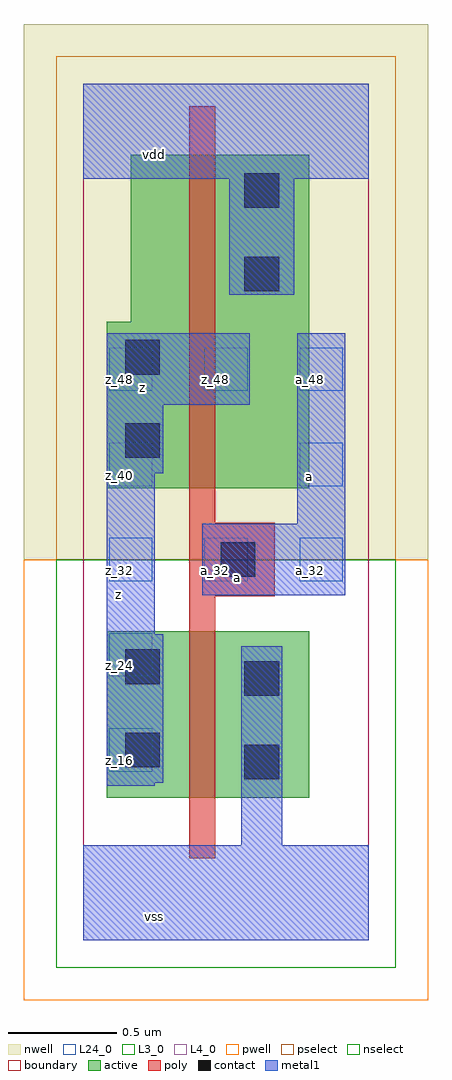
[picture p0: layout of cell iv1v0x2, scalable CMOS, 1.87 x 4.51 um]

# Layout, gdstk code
import gdstk
lib = gdstk.Library(unit=1e-6, precision=2.5e-09)
def R(c, l, rs):  # rectangles x0, y0, x1, y1
    for r in rs: c.add(gdstk.rectangle(r[:2], r[2:], *l))
def A(c, l, x, y, w, h, nx, ny, dx, dy):  # array of equal rectangles
    R(c, l, [(x+i*dx, y+j*dy, x+i*dx+w, y+j*dy+h) for i in range(nx) for j in range(ny)])
L3_0 = (3, 0)
L4_0 = (4, 0)
L24_0 = (24, 0)
contact = (25, 0)
pwell = (41, 0)
nwell = (42, 0)
active = (43, 0)
pselect = (44, 0)
nselect = (45, 0)
poly = (46, 0)
metal1 = (49, 0)
boundary = (63, 0)

iv1v0x2 = lib.new_cell('iv1v0x2')
R(iv1v0x2, L3_0, [(0.11,0.66,1.045,1.43)])
R(iv1v0x2, L4_0, [(0.11,2.09,1.045,2.86), (0.22,2.86,1.045,3.63)])
A(iv1v0x2, L24_0, 0.12, 1.66, 0.2, 0.2, 3, 2, 0.44, 0.88)
R(iv1v0x2, L24_0, [(0.12,0.78,0.32,0.98), (0.12,1.22,0.32,1.42), (0.12,2.1,0.32,2.3), (1,2.1,1.2,2.3)])
R(iv1v0x2, contact, [(0.745,0.745,0.905,0.905), (0.195,0.8,0.355,0.96), (0.745,1.13,0.905,1.29), (0.195,1.185,0.355,1.345), (0.635,1.68,0.795,1.84), (0.195,2.23,0.355,2.39), (0.195,2.615,0.355,2.775), (0.745,3,0.905,3.16), (0.745,3.385,0.905,3.545)])
R(iv1v0x2, pwell, [(-0.275,-0.275,1.595,1.76)])
R(iv1v0x2, nwell, [(-0.275,1.76,1.595,4.235)])
R(iv1v0x2, active, [(0.11,0.66,1.045,1.43), (0.11,2.09,1.045,2.86), (0.22,2.86,1.045,3.63)])
R(iv1v0x2, pselect, [(-0.125,1.76,1.445,4.085)])
R(iv1v0x2, nselect, [(-0.125,-0.125,1.445,1.76)])
R(iv1v0x2, poly, [(0.49,0.38,0.61,1.59), (0.49,1.59,0.885,1.93), (0.49,1.93,0.61,3.855)])
R(iv1v0x2, metal1, [(0,0,1.32,0.44), (0.73,0.44,0.92,1.36), (0.11,0.715,0.33,0.73), (0.11,0.73,0.37,1.415), (0.11,1.415,0.33,2.16), (0.55,1.595,1.21,1.925), (0.99,1.925,1.21,2.805), (0.11,2.16,0.37,2.475), (0.11,2.475,0.77,2.805), (0.675,2.985,0.975,3.52), (0,3.52,1.32,3.96)])
R(iv1v0x2, boundary, [(0,0,1.32,3.96)])
iv1v0x2.add(gdstk.Label('vss', (0.33,0.11), layer=49, texttype=0))
iv1v0x2.add(gdstk.Label('a', (0.715,1.6775), layer=49, texttype=0))
iv1v0x2.add(gdstk.Label('a', (1.045,2.145), layer=49, texttype=0))
iv1v0x2.add(gdstk.Label('z', (0.165,1.6), layer=49, texttype=0))
iv1v0x2.add(gdstk.Label('z', (0.275,2.5575), layer=49, texttype=0))
iv1v0x2.add(gdstk.Label('vdd', (0.33,3.63), layer=49, texttype=0))
iv1v0x2.add(gdstk.Label('z_48', (0.17,2.59), layer=24, texttype=0))
iv1v0x2.add(gdstk.Label('z_40', (0.17,2.15), layer=24, texttype=0))
iv1v0x2.add(gdstk.Label('z_32', (0.17,1.71), layer=24, texttype=0))
iv1v0x2.add(gdstk.Label('z_24', (0.17,1.27), layer=24, texttype=0))
iv1v0x2.add(gdstk.Label('z_16', (0.17,0.83), layer=24, texttype=0))
iv1v0x2.add(gdstk.Label('a_48', (1.05,2.59), layer=24, texttype=0))
iv1v0x2.add(gdstk.Label('a_40', (1.05,2.15), layer=24, texttype=0))
iv1v0x2.add(gdstk.Label('a_32', (1.05,1.71), layer=24, texttype=0))
iv1v0x2.add(gdstk.Label('z_48', (0.61,2.59), layer=24, texttype=0))
iv1v0x2.add(gdstk.Label('a_32', (0.61,1.71), layer=24, texttype=0))

lib.write_gds('iv1v0x2.gds')
